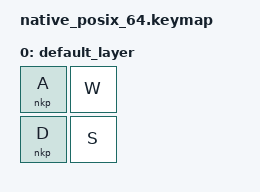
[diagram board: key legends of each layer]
#include <dt-bindings/zmk/keys.h>
#include <behaviors.dtsi>
#include <dt-bindings/zmk/kscan_mock.h>

/* Non-overlap keys and normal keys do not interfere with one another. */

/ {
    keymap {
        compatible = "zmk,keymap";

        default_layer {
            bindings = <
                &nkp A &kp W
                &nkp D &kp S>;
        };
    };
};

&kscan {
    events = <
        // Hold &kp W
        ZMK_MOCK_PRESS(0,1,10)
        // Basic non-overlap test
        ZMK_MOCK_PRESS(0,0,10)
        ZMK_MOCK_PRESS(1,0,10)
        ZMK_MOCK_RELEASE(1,0,10)
        ZMK_MOCK_RELEASE(0,0,10)
        // Release &kp W
        ZMK_MOCK_RELEASE(0,1,10)
    >;
};
